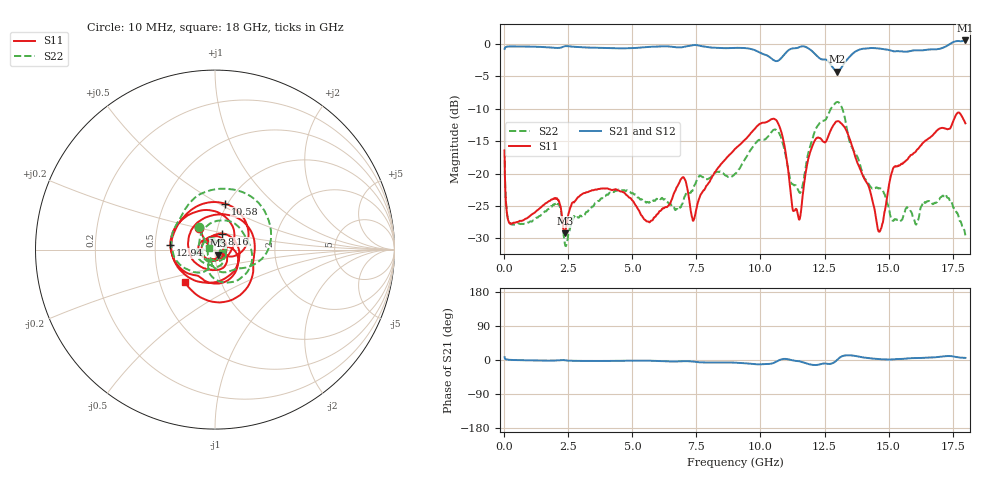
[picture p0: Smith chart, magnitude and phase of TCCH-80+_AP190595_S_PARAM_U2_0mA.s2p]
!Created: 07-29-2019 at 10:54:55
!Mini-Circuits
!S2P DATA File Format
!Type: RF CHOKE
!Port 1: RF; Port 2: RF AND DC IN
!TEST CONDITIONS: Z:50 OHM SYSTEM, INPUT POWER = -10dBm, TEMP:25°C
!REMARKS: TESTED WITH 0 mA CURRENT; FULL 2 PORT CALIBRATION OF THE SYSTEM; FIXTURE THRU LINE LOSS NORMALIZED VIA DATA/MEMORY FUNCTION; FIXTURE RETURN LOSS NORMALIZED VIA DATA-MEMORY FUNCTION.
!FIXTURE: 90-2-20-165
!PRESSING ARM: B85-TA-076
!MODEL: TCCH-80+
!S/N: U2_0mA
# MHZ S DB R 50
!Frequency  S11 dB  S11 DEG  S21 dB  S21 DEG  S12 dB  S12 DEG  S22 dB  S22 DEG
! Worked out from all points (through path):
!   905 points, 10 MHz to 18 GHz, reference 50 ohm
!   highest |S21| = 0.56 dB at 18 GHz (marker M1); lowest = -4.3 dB at 12.98 GHz (marker M2)
!   lowest |S11| = -29.2 dB at 2.36 GHz (marker M3), VSWR 1.07, Z = 51.7 - j3.11 ohm
!   |S11| at or under -10 dB: start of sweep to end of sweep
!   |S22| runs from -31.2 to -8.9 dB; largest |S21 - S12| = 0.0039
!   S11 on the Smith chart (normalised r, x): 10 MHz: 0.81, +0.20; 8.16 GHz: 1.07, +0.19; 10.58 GHz: 0.98, +0.54; 12.94 GHz: 0.60, +0.03; 18 GHz: 0.67, -0.26
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10  -16.40 126.1  -0.75 7.5  -0.75 7.5  -16.37 124.9
220  -27.73 147.0  -0.36 0.4  -0.36 0.4  -27.69 149.7
2060  -23.83 -37.2  -0.60 -1.1  -0.60 -1.1  -24.47 8.7
2360  -29.20 -60.0  -0.33 -0.6  -0.33 -0.6  -30.79 -25.7
3020  -23.21 -121.5  -0.49 -2.4  -0.49 -2.5  -26.62 -48.1
6020  -26.10 -80.6  -0.36 -2.5  -0.35 -2.5  -23.81 41.9
6980  -20.53 168.3  -0.46 -3.0  -0.45 -3.0  -24.21 -18.4
7400  -27.09 132.2  -0.16 -4.4  -0.16 -4.4  -22.09 -54.1
8160  -20.23 65.6  -0.56 -6.6  -0.56 -6.6  -20.19 -134.2
9020  -16.13 -42.4  -0.58 -7.0  -0.59 -7.1  -20.01 150.2
10000  -12.27 178.9  -1.36 -11.4  -1.38 -11.5  -14.77 44.9
10580  -11.64 77.3  -2.61 -5.7  -2.64 -5.6  -13.19 -34.4
11480  -26.85 -10.4  -0.53 -3.0  -0.54 -2.8  -22.59 -117.2
12020  -15.79 -41.4  -1.11 -12.7  -1.10 -12.7  -14.78 -140.6
12940  -12.02 173.8  -4.17 -3.1  -4.17 -3.1  -9.05 68.7
12980  -11.93 165.3  -4.25 -0.6  -4.26 -0.7  -8.95 60.3
13420  -13.99 79.1  -2.21 12.4  -2.20 12.5  -14.09 -30.6
14620  -28.96 -37.5  -0.69 2.3  -0.68 2.3  -22.27 -146.9
15020  -21.68 -34.7  -0.92 1.2  -0.91 1.1  -25.51 160.8
16760  -13.91 77.6  -0.81 6.8  -0.81 6.8  -24.66 4.9
17460  -12.57 -25.0  0.16 10.2  0.16 10.1  -24.41 -104.7
18000  -12.24 -133.2  0.56 5.5  0.56 5.5  -29.53 161.7
